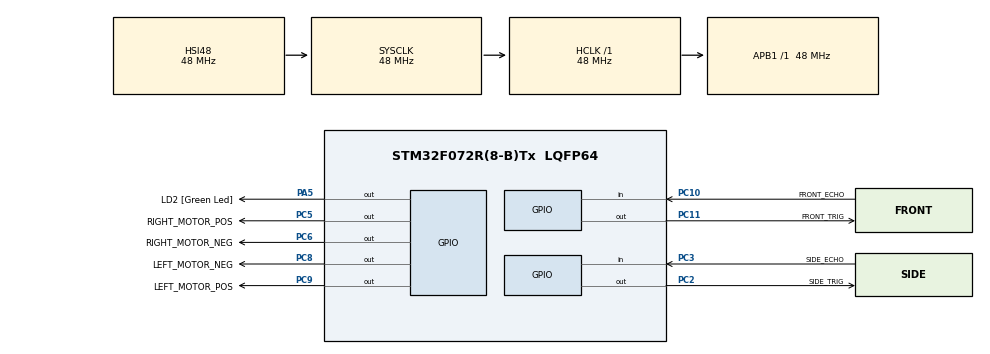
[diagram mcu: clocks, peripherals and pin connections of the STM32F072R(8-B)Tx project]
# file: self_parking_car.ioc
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Mcu.Family=STM32F0
Mcu.Name=STM32F072R(8-B)Tx
Mcu.Package=LQFP64
NVIC.TIM1_CC_IRQn=true\:0\:0\:false\:false\:true\:true\:true\:true
NVIC.TIM3_IRQn=true\:0\:0\:false\:false\:true\:true\:true\:true
PA13.GPIO_Label=TMS
PA13.Mode=Serial_Wire
PA13.Signal=SYS_SWDIO
PA14.GPIO_Label=TCK
PA14.Mode=Serial_Wire
PA14.Signal=SYS_SWCLK
PA5.GPIO_Label=LD2 [Green Led]
PA5.GPIO_Mode=GPIO_MODE_OUTPUT_PP
PA5.GPIO_PuPd=GPIO_NOPULL
PA5.GPIO_Speed=GPIO_SPEED_FREQ_LOW
PA5.Signal=GPIO_Output
PC10.GPIO_Label=FRONT_ECHO
PC10.Signal=GPIO_Input
PC11.GPIO_Label=FRONT_TRIG
PC11.Signal=GPIO_Output
PC14-OSC32_IN.Mode=LSE-External-Oscillator
PC14-OSC32_IN.Signal=RCC_OSC32_IN
PC15-OSC32_OUT.Mode=LSE-External-Oscillator
PC15-OSC32_OUT.Signal=RCC_OSC32_OUT
PC2.GPIO_Label=SIDE_TRIG
PC2.Signal=GPIO_Output
PC3.GPIO_Label=SIDE_ECHO
PC3.Signal=GPIO_Input
PC5.GPIO_Label=RIGHT_MOTOR_POS
PC5.Signal=GPIO_Output
PC6.GPIO_Label=RIGHT_MOTOR_NEG
PC6.Signal=GPIO_Output
PC8.GPIO_Label=LEFT_MOTOR_NEG
PC8.Signal=GPIO_Output
PC9.GPIO_Label=LEFT_MOTOR_POS
PC9.Signal=GPIO_Output
PF0-OSC_IN.Mode=HSE-External-Clock-Source
PF0-OSC_IN.Signal=RCC_OSC_IN
PF1-OSC_OUT.Signal=RCC_OSC_OUT
ProjectManager.HeapSize=0x200
ProjectManager.StackSize=0x400
ProjectManager.TargetToolchain=STM32CubeIDE
RCC.AHBFreq_Value=48000000
RCC.APB1Freq_Value=48000000
RCC.APB1TimFreq_Value=48000000
RCC.FLatency-AdvancedSettings=FLASH_LATENCY_1
RCC.HCLKFreq_Value=48000000
RCC.PLLDivider=RCC_PREDIV_DIV2
RCC.PLLMUL=RCC_PLL_MUL12
RCC.PREFETCH_ENABLE-AdvancedSettings=1
RCC.SYSCLKFreq_VALUE=48000000
RCC.SYSCLKSource=RCC_SYSCLKSOURCE_HSI48
TIM1.Period=65535
TIM1.Prescaler=47
TIM3.Period=1000-1
TIM3.Prescaler=48-1
VP_TIM1_VS_ClockSourceINT.Mode=Internal
VP_TIM3_VS_ClockSourceINT.Mode=Internal
board=NUCLEO-F072RB

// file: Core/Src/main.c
/* USER CODE BEGIN Header */
/**
  ******************************************************************************
  * @file           : main.c
  * @brief          : Main program body
  ******************************************************************************
  * @attention
  *
  * Copyright (c) 2024 STMicroelectronics.
  * All rights reserved.
  *
  * This software is licensed under terms that can be found in the LICENSE file
  * in the root directory of this software component.
  * If no LICENSE file comes with this software, it is provided AS-IS.
  *
  ******************************************************************************
  */
/* USER CODE END Header */
#include "main.h"

TIM_HandleTypeDef htim1;
TIM_HandleTypeDef htim3;

void SystemClock_Config(void);
static void MX_GPIO_Init(void);
static void MX_TIM3_Init(void);
static void MX_TIM1_Init(void);
/* USER CODE BEGIN PFP */
#include <stdbool.h>
/* USER CODE END PFP */

/* USER CODE BEGIN 0 */
uint32_t myTime = 0;
bool isTimerActive = false;

uint16_t measure_distance(GPIO_TypeDef* TRIG_GPIO_Port, uint16_t TRIG_Pin, GPIO_TypeDef* ECHO_GPIO_Port, uint16_t ECHO_Pin, TIM_HandleTypeDef tim) {
	uint32_t pMillis;
	uint32_t value1 = 0;
	uint32_t value2 = 0;
	uint16_t distance  = 0; //cm

	HAL_GPIO_WritePin(TRIG_GPIO_Port, TRIG_Pin, GPIO_PIN_SET);  // pull the TRIG pin HIGH
	__HAL_TIM_SET_COUNTER(&htim1, 0);
	while (__HAL_TIM_GET_COUNTER (&tim) < 10);  // wait for 10 us
	HAL_GPIO_WritePin(TRIG_GPIO_Port, TRIG_Pin, GPIO_PIN_RESET);  // pull the TRIG pin low

	pMillis = HAL_GetTick(); // used this to avoid infinite while loop  (for timeout)
	// wait for the echo pin to go high
	while (!(HAL_GPIO_ReadPin (ECHO_GPIO_Port, ECHO_Pin)) && pMillis + 10 >  HAL_GetTick());
	value1 = __HAL_TIM_GET_COUNTER (&tim);

	pMillis = HAL_GetTick(); // used this to avoid infinite while loop (for timeout)
	// wait for the echo pin to go low
	while ((HAL_GPIO_ReadPin (ECHO_GPIO_Port, ECHO_Pin)) && pMillis + 50 > HAL_GetTick());
	value2 = __HAL_TIM_GET_COUNTER (&tim);

	distance = (value2 - value1) * 0.034 / 2;
	HAL_Delay(50);

	return distance;
}

// CAR MOVEMENT
void goForward() {
	HAL_GPIO_WritePin(RIGHT_MOTOR_POS_GPIO_Port, RIGHT_MOTOR_POS_Pin, 1);
	HAL_GPIO_WritePin(RIGHT_MOTOR_NEG_GPIO_Port, RIGHT_MOTOR_NEG_Pin, 0);
	HAL_GPIO_WritePin(LEFT_MOTOR_POS_GPIO_Port, LEFT_MOTOR_POS_Pin, 1);
	HAL_GPIO_WritePin(LEFT_MOTOR_NEG_GPIO_Port, LEFT_MOTOR_NEG_Pin, 0);
}

void goBackwards() {
	HAL_GPIO_WritePin(RIGHT_MOTOR_POS_GPIO_Port, RIGHT_MOTOR_POS_Pin, 0);
	HAL_GPIO_WritePin(RIGHT_MOTOR_NEG_GPIO_Port, RIGHT_MOTOR_NEG_Pin, 1);
	HAL_GPIO_WritePin(LEFT_MOTOR_POS_GPIO_Port, LEFT_MOTOR_POS_Pin, 0);
	HAL_GPIO_WritePin(LEFT_MOTOR_NEG_GPIO_Port, LEFT_MOTOR_NEG_Pin, 1);
}

void turnRight() {
	HAL_GPIO_WritePin(RIGHT_MOTOR_POS_GPIO_Port, RIGHT_MOTOR_POS_Pin, 1);
	HAL_GPIO_WritePin(RIGHT_MOTOR_NEG_GPIO_Port, RIGHT_MOTOR_NEG_Pin, 0);
	HAL_GPIO_WritePin(LEFT_MOTOR_POS_GPIO_Port, LEFT_MOTOR_POS_Pin, 0);
	HAL_GPIO_WritePin(LEFT_MOTOR_NEG_GPIO_Port, LEFT_MOTOR_NEG_Pin, 1);
}

void turnLeft() {
	HAL_GPIO_WritePin(RIGHT_MOTOR_POS_GPIO_Port, RIGHT_MOTOR_POS_Pin, 0);
	HAL_GPIO_WritePin(RIGHT_MOTOR_NEG_GPIO_Port, RIGHT_MOTOR_NEG_Pin, 1);
	HAL_GPIO_WritePin(LEFT_MOTOR_POS_GPIO_Port, LEFT_MOTOR_POS_Pin, 1);
	HAL_GPIO_WritePin(LEFT_MOTOR_NEG_GPIO_Port, LEFT_MOTOR_NEG_Pin, 0);
}

void stop() {
	HAL_GPIO_WritePin(RIGHT_MOTOR_POS_GPIO_Port, RIGHT_MOTOR_POS_Pin, 0);
	HAL_GPIO_WritePin(RIGHT_MOTOR_NEG_GPIO_Port, RIGHT_MOTOR_NEG_Pin, 0);
	HAL_GPIO_WritePin(LEFT_MOTOR_POS_GPIO_Port, LEFT_MOTOR_POS_Pin, 0);
	HAL_GPIO_WritePin(LEFT_MOTOR_NEG_GPIO_Port, LEFT_MOTOR_NEG_Pin, 0);
}

void reset_time() {
	myTime = 0;
}

void start_timer() {
	isTimerActive = true;
}

void stop_timer() {
	isTimerActive = false;
}

/* USER CODE END 0 */

int main(void)
{

  /* MCU Configuration--------------------------------------------------------*/

  /* Reset of all peripherals, Initializes the Flash interface and the Systick. */
  HAL_Init();

  /* Configure the system clock */
  SystemClock_Config();

  /* Initialize all configured peripherals */
  MX_GPIO_Init();
  MX_TIM3_Init();
  MX_TIM1_Init();
  /* USER CODE BEGIN 2 */
  HAL_TIM_Base_Start_IT(&htim3);

  HAL_TIM_Base_Start(&htim1);
  HAL_TIM_Base_Start(&htim1);
  HAL_GPIO_WritePin(SIDE_TRIG_GPIO_Port, SIDE_TRIG_Pin, GPIO_PIN_RESET);  // pull the TRIG pin low

  uint16_t sideDistanceReference = measure_distance(SIDE_TRIG_GPIO_Port, SIDE_TRIG_Pin, SIDE_ECHO_GPIO_Port, SIDE_ECHO_Pin, htim1);

  uint32_t timeDistance = 0;

  bool isGoBackwardsDone = false;

  bool isParkDone = false;
  bool isParking = false;
  bool isDetectParkingSpot = false;

  bool isStartTurningLeftTimeStarted = false;
  bool isStartTurningLeft = false;
  bool isFinishTurningLeft = false;

  bool isStartTurningRightTimeStarted = false;
  bool isStartTurningRight = false;
  bool isFinishTurningRight = false;

  bool isCarAlignStarted = false;
  bool isCarAligned = false;

  uint32_t carRotateTime = 250;

  /* USER CODE END 2 */

  /* Infinite loop */
  while (1)
  {

    /* USER CODE BEGIN 3 */
	  if (!isParkDone) {
		  if (!isParking) {
			  goForward();
			  uint16_t sideDist = measure_distance(SIDE_TRIG_GPIO_Port, SIDE_TRIG_Pin, SIDE_ECHO_GPIO_Port, SIDE_ECHO_Pin, htim1);

			  // calculate gap
			  uint16_t sideDistanceGap = sideDist - sideDistanceReference;
			  // check is there enough gap for parking
			  if (sideDistanceGap >= 10 && sideDistanceGap < 10000 && !isDetectParkingSpot) {
				  isDetectParkingSpot = true;
				  start_timer();
			  }

			  if (isDetectParkingSpot) {
				  if (sideDistanceGap <= 7 || sideDistanceGap >= 65000) {
					  stop_timer();
					  if (myTime >= 300) {
						  stop();
						  timeDistance = myTime * 0.75;
						  isParking = true;
						  HAL_Delay(1000);
						  reset_time();
						  start_timer();
					  }
					  else {
						  isDetectParkingSpot = false;
						  reset_time();
					  }
				  }
			  }

		  }
		  else {
			  if (!isGoBackwardsDone) {
				  goBackwards();
			  }
			  if (myTime >= timeDistance && !isGoBackwardsDone && (!isStartTurningLeft || !isStartTurningRight)) {
				  stop();
				  stop_timer();
				  reset_time();
				  HAL_Delay(1000);
				  isStartTurningLeft = true;
				  isGoBackwardsDone = true;
			  }
			  if (!isStartTurningLeftTimeStarted && isStartTurningLeft) {
				  start_timer();
				  isStartTurningLeftTimeStarted = true;
			  }
			  if (isStartTurningLeft && !isFinishTurningLeft) {
				  turnLeft();
				  if (myTime >= carRotateTime) {
					  isStartTurningLeft = false;
					  isFinishTurningLeft = true;
					  stop();
					  stop_timer();
					  reset_time();
					  isCarAlignStarted = true;
				  }
			  }
			  if (isCarAlignStarted && !isCarAligned) {
				  goBackwards();

				  uint16_t frontDist = measure_distance(FRONT_TRIG_GPIO_Port, FRONT_TRIG_Pin, FRONT_ECHO_GPIO_Port, FRONT_ECHO_Pin, htim1);

				  if (frontDist <= 10) {
					  isCarAligned = true;
					  isCarAlignStarted = false;
					  stop();

					  HAL_Delay(1000);
					  isStartTurningRight = true;
				  }
			  }
			  if (isStartTurningRight && !isStartTurningRightTimeStarted) {
				  start_timer();
				  isStartTurningRightTimeStarted = true;
			  }
			  if (isStartTurningRight && !isFinishTurningRight) {
				  turnRight();
				  if (myTime >= carRotateTime  * 1.4 ) {
					  isStartTurningRight = false;
					  isFinishTurningRight = true;
					  stop();
					  stop_timer();
					  reset_time();

					  isParkDone = true;
				  }
			  }

		  }
	  }
  }
  /* USER CODE END 3 */
}

void SystemClock_Config(void)
{
  RCC_OscInitTypeDef RCC_OscInitStruct = {0};
  RCC_ClkInitTypeDef RCC_ClkInitStruct = {0};

  /** Initializes the RCC Oscillators according to the specified parameters
  * in the RCC_OscInitTypeDef structure.
  */
  RCC_OscInitStruct.OscillatorType = RCC_OSCILLATORTYPE_HSI48;
  RCC_OscInitStruct.HSI48State = RCC_HSI48_ON;
  RCC_OscInitStruct.PLL.PLLState = RCC_PLL_NONE;
  if (HAL_RCC_OscConfig(&RCC_OscInitStruct) != HAL_OK)
  {
    Error_Handler();
  }

  /** Initializes the CPU, AHB and APB buses clocks
  */
  RCC_ClkInitStruct.ClockType = RCC_CLOCKTYPE_HCLK|RCC_CLOCKTYPE_SYSCLK
                              |RCC_CLOCKTYPE_PCLK1;
  RCC_ClkInitStruct.SYSCLKSource = RCC_SYSCLKSOURCE_HSI48;
  RCC_ClkInitStruct.AHBCLKDivider = RCC_SYSCLK_DIV1;
  RCC_ClkInitStruct.APB1CLKDivider = RCC_HCLK_DIV1;

  if (HAL_RCC_ClockConfig(&RCC_ClkInitStruct, FLASH_LATENCY_1) != HAL_OK)
  {
    Error_Handler();
  }
}

static void MX_TIM1_Init(void)
{

  TIM_ClockConfigTypeDef sClockSourceConfig = {0};
  TIM_MasterConfigTypeDef sMasterConfig = {0};

  htim1.Instance = TIM1;
  htim1.Init.Prescaler = 47;
  htim1.Init.CounterMode = TIM_COUNTERMODE_UP;
  htim1.Init.Period = 65535;
  htim1.Init.ClockDivision = TIM_CLOCKDIVISION_DIV1;
  htim1.Init.RepetitionCounter = 0;
  htim1.Init.AutoReloadPreload = TIM_AUTORELOAD_PRELOAD_DISABLE;
  if (HAL_TIM_Base_Init(&htim1) != HAL_OK)
  {
    Error_Handler();
  }
  sClockSourceConfig.ClockSource = TIM_CLOCKSOURCE_INTERNAL;
  if (HAL_TIM_ConfigClockSource(&htim1, &sClockSourceConfig) != HAL_OK)
  {
    Error_Handler();
  }
  sMasterConfig.MasterOutputTrigger = TIM_TRGO_RESET;
  sMasterConfig.MasterSlaveMode = TIM_MASTERSLAVEMODE_DISABLE;
  if (HAL_TIMEx_MasterConfigSynchronization(&htim1, &sMasterConfig) != HAL_OK)
  {
    Error_Handler();
  }

}

static void MX_TIM3_Init(void)
{

  TIM_ClockConfigTypeDef sClockSourceConfig = {0};
  TIM_MasterConfigTypeDef sMasterConfig = {0};

  htim3.Instance = TIM3;
  htim3.Init.Prescaler = 48-1;
  htim3.Init.CounterMode = TIM_COUNTERMODE_UP;
  htim3.Init.Period = 1000-1;
  htim3.Init.ClockDivision = TIM_CLOCKDIVISION_DIV1;
  htim3.Init.AutoReloadPreload = TIM_AUTORELOAD_PRELOAD_DISABLE;
  if (HAL_TIM_Base_Init(&htim3) != HAL_OK)
  {
    Error_Handler();
  }
  sClockSourceConfig.ClockSource = TIM_CLOCKSOURCE_INTERNAL;
  if (HAL_TIM_ConfigClockSource(&htim3, &sClockSourceConfig) != HAL_OK)
  {
    Error_Handler();
  }
  sMasterConfig.MasterOutputTrigger = TIM_TRGO_RESET;
  sMasterConfig.MasterSlaveMode = TIM_MASTERSLAVEMODE_DISABLE;
  if (HAL_TIMEx_MasterConfigSynchronization(&htim3, &sMasterConfig) != HAL_OK)
  {
    Error_Handler();
  }

}

static void MX_GPIO_Init(void)
{
  GPIO_InitTypeDef GPIO_InitStruct = {0};

  /* GPIO Ports Clock Enable */
  __HAL_RCC_GPIOC_CLK_ENABLE();
  __HAL_RCC_GPIOF_CLK_ENABLE();
  __HAL_RCC_GPIOA_CLK_ENABLE();

  /*Configure GPIO pin Output Level */
  HAL_GPIO_WritePin(GPIOC, SIDE_TRIG_Pin|RIGHT_MOTOR_POS_Pin|RIGHT_MOTOR_NEG_Pin|LEFT_MOTOR_NEG_Pin
                          |LEFT_MOTOR_POS_Pin|FRONT_TRIG_Pin, GPIO_PIN_RESET);

  /*Configure GPIO pin Output Level */
  HAL_GPIO_WritePin(LD2_GPIO_Port, LD2_Pin, GPIO_PIN_RESET);

  /*Configure GPIO pins : SIDE_TRIG_Pin RIGHT_MOTOR_POS_Pin RIGHT_MOTOR_NEG_Pin LEFT_MOTOR_NEG_Pin
                           LEFT_MOTOR_POS_Pin FRONT_TRIG_Pin */
  GPIO_InitStruct.Pin = SIDE_TRIG_Pin|RIGHT_MOTOR_POS_Pin|RIGHT_MOTOR_NEG_Pin|LEFT_MOTOR_NEG_Pin
                          |LEFT_MOTOR_POS_Pin|FRONT_TRIG_Pin;
  GPIO_InitStruct.Mode = GPIO_MODE_OUTPUT_PP;
  GPIO_InitStruct.Pull = GPIO_NOPULL;
  GPIO_InitStruct.Speed = GPIO_SPEED_FREQ_LOW;
  HAL_GPIO_Init(GPIOC, &GPIO_InitStruct);

  /*Configure GPIO pins : SIDE_ECHO_Pin FRONT_ECHO_Pin */
  GPIO_InitStruct.Pin = SIDE_ECHO_Pin|FRONT_ECHO_Pin;
  GPIO_InitStruct.Mode = GPIO_MODE_INPUT;
  GPIO_InitStruct.Pull = GPIO_NOPULL;
  HAL_GPIO_Init(GPIOC, &GPIO_InitStruct);

  /*Configure GPIO pin : LD2_Pin */
  GPIO_InitStruct.Pin = LD2_Pin;
  GPIO_InitStruct.Mode = GPIO_MODE_OUTPUT_PP;
  GPIO_InitStruct.Pull = GPIO_NOPULL;
  GPIO_InitStruct.Speed = GPIO_SPEED_FREQ_LOW;
  HAL_GPIO_Init(LD2_GPIO_Port, &GPIO_InitStruct);

}

/* USER CODE BEGIN 4 */
void HAL_TIM_PeriodElapsedCallback(TIM_HandleTypeDef *htim) {
    if (htim->Instance == TIM3 && isTimerActive) {
    	myTime++;
    }
}

/* USER CODE END 4 */

void Error_Handler(void)
{
  __disable_irq();
  while (1)
  {
  }
}
